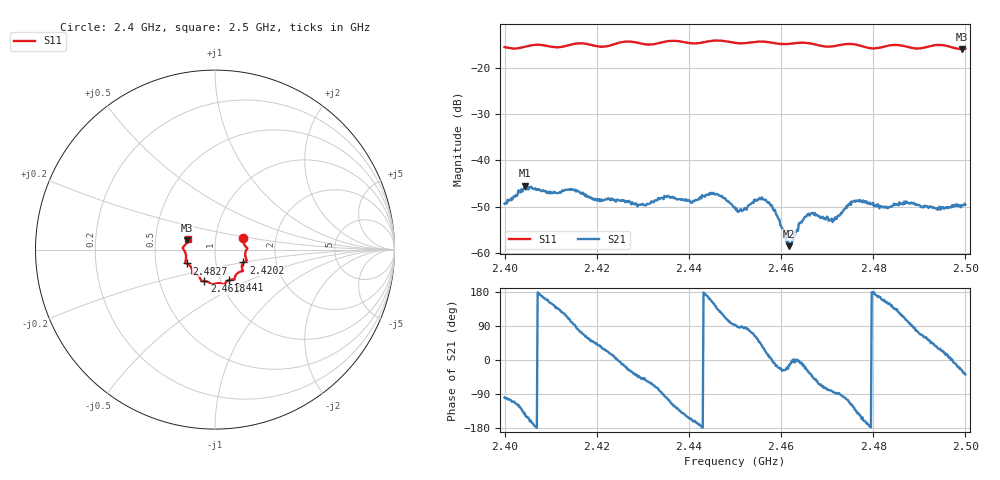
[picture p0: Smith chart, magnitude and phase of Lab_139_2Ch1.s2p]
# Hz S RI R 50
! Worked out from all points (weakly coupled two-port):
!   601 points, 2.4 GHz to 2.5 GHz, reference 50 ohm
!   highest |S21| = -45.47 dB at 2.4045 GHz (marker M1); lowest = -58.6 dB at 2.4617 GHz (marker M2)
!   lowest |S11| = -15.8 dB at 2.4993 GHz (marker M3), VSWR 1.39, Z = 36.5 + j3.86 ohm
!   |S11| at or under -10 dB: start of sweep to end of sweep
!   S12 and S22 are empty: the file has one direction only
!   S11 on the Smith chart (normalised r, x): 2.4 GHz: 1.36, +0.18; 2.4202 GHz: 1.36, -0.20; 2.441 GHz: 1.10, -0.39; 2.4618 GHz: 0.84, -0.30; 2.4827 GHz: 0.72, -0.11; 2.5 GHz: 0.73, +0.09
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2.4e9  0.1584 0.063  -0.000536 -0.00335  0 0  0 0
2.4045e9  0.1717 0.0161  -0.00443 -0.00295  0 0  0 0
2.416667e9  0.1774 -0.0611  0.00127 0.00423  0 0  0 0
2.420167e9  0.1585 -0.0715  0.00294 0.00243  0 0  0 0
2.429333e9  0.1429 -0.1219  0.00236 -0.00232  0 0  0 0
2.433333e9  0.1117 -0.1507  0.000952 -0.0038  0 0  0 0
2.441e9  0.0785 -0.1698  -0.00347 -0.00113  0 0  0 0
2.445833e9  0.0501 -0.195  -0.00338 0.00267  0 0  0 0
2.45e9  0.0285 -0.1874  -0.000147 0.0031  0 0  0 0
2.456333e9  -0.0172 -0.1947  0.00327 0.00182  0 0  0 0
2.4585e9  -0.0287 -0.1862  0.00282 -0.000355  0 0  0 0
2.461667e9  -0.0576 -0.1754  0.00114 -0.000287  0 0  0 0
2.461833e9  -0.0593 -0.1755  0.00116 -0.000291  0 0  0 0
2.464333e9  -0.0748 -0.175  0.00212 -0.000336  0 0  0 0
2.466667e9  -0.0787 -0.1681  0.00196 -0.00183  0 0  0 0
2.471e9  -0.1044 -0.1385  0.000361 -0.0023  0 0  0 0
2.476333e9  -0.1274 -0.1287  -0.0026 -0.0026  0 0  0 0
2.482667e9  -0.1561 -0.0771  -0.00277 0.00133  0 0  0 0
2.483333e9  -0.1604 -0.075  -0.00263 0.00159  0 0  0 0
2.487167e9  -0.1629 -0.0582  -0.000886 0.00336  0 0  0 0
2.499333e9  -0.1541 0.0515  0.00286 -0.00157  0 0  0 0
2.5e9  -0.1524 0.061  0.0026 -0.00204  0 0  0 0
